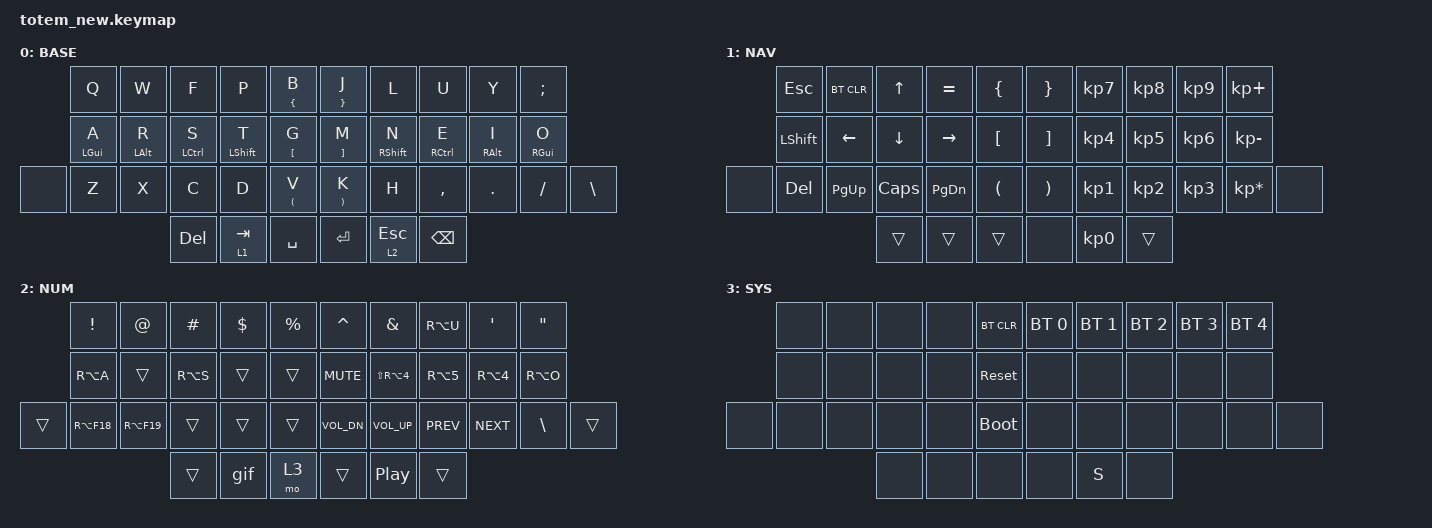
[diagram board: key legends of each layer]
//
//                                                        ▀▀▀▀▀     ▀▀▀▀▀          ▀▀█▀▀
//                                                        ▄▀▀▀▄  ▄  ▄▀▀▀▄  ▄  ▄▀▀▀▄  █  ▄▀▀▀▄
//                                                        █   █  █  █   █  █  █   █  █  █   █
//                                                         ▀▀▀   █   ▀▀▀   █   ▀▀▀   ▀   ▀▀▀
//                                                               █      ▄▄▄█▄▄▄    █   █  
//                                                               ▀      █  █  █     █▄█
//                                                             ▀▀▀▀▀    █  █  █      ▀
//                                                                      ▀  ▀  ▀
//
// ▄▄▄▄▄▄▄▄▄▄▄▄▄▄▄▄▄▄▄▄▄▄▄▄▄▄▄▄▄▄▄▄▄▄▄▄▄▄▄▄▄▄▄▄▄▄▄▄▄▄▄▄▄▄▄▄▄▄▄▄▄▄▄▄▄▄▄▄▄▄▄▄▄▄▄▄▄▄▄▄▄▄▄▄▄▄▄▄▄▄▄▄▄▄▄▄▄▄▄▄▄▄▄▄▄▄▄▄▄▄▄▄▄▄▄▄▄▄▄▄▄▄▄▄▄▄▄▄▄▄▄▄▄▄▄▄▄▄▄▄▄▄▄▄▄▄▄▄▄

#include <behaviors.dtsi>
#include <dt-bindings/zmk/bt.h>
#include <dt-bindings/zmk/keys.h>

#define BASE 0
#define NAV  1
#define SYM  2
#define ADJ  3
#define TVP1 4
#define TVP2 5

&mt {
    quick-tap-ms = <100>;
    global-quick-tap;
    flavor = "tap-preferred";
    tapping-term-ms = <170>;
};

/ {
    combos {
        compatible = "zmk,combos";

        combo_sys_layer {
            bindings = <&to 3>;
            key-positions = <20 31>;
            layers = <1>;
        };

        combo_leave_sys_layer {
            bindings = <&to 0>;
            key-positions = <20 31>;
            layers = <3>;
        };
    };

    keymap {
        compatible = "zmk,keymap";

        // ▄▄▄▄▄▄▄▄▄▄▄▄▄▄▄▄▄▄▄▄▄▄▄▄▄▄▄▄▄▄▄▄▄▄▄▄▄▄▄▄▄▄▄▄▄▄▄▄▄▄▄▄▄▄▄▄▄▄▄▄▄▄▄▄▄▄▄▄▄▄▄▄▄▄▄▄▄▄▄▄▄▄▄▄▄▄▄▄▄▄▄▄▄▄▄▄▄▄▄▄▄▄▄▄▄▄▄▄▄▄▄▄▄▄▄▄▄▄▄▄▄▄▄▄▄▄▄▄▄▄▄▄▄▄▄▄▄▄▄▄▄▄▄▄▄▄▄▄▄

        base_layer {
            label = "BASE";

            bindings = <
       &kp Q       &kp W       &kp F        &kp P        &mt LBRC B    &mt RBRC J  &kp L        &kp U        &kp Y       &kp SEMI
       &mt LGUI A  &mt LALT R  &mt LCTRL S  &mt LSHFT T  &mt LBKT G    &mt RBKT M  &mt RSHFT N  &mt RCTRL E  &mt RALT I  &mt RGUI O
&none  &kp Z       &kp X       &kp C        &kp D        &mt LPAR V    &mt RPAR K  &kp H        &kp COMMA    &kp DOT     &kp FSLH    &kp BSLH
                               &kp DEL      &lt 1 TAB    &kp SPACE     &kp RET     &lt 2 ESC    &kp BSPC
            >;
        };

        // ▄▄▄▄▄▄▄▄▄▄▄▄▄▄▄▄▄▄▄▄▄▄▄▄▄▄▄▄▄▄▄▄▄▄▄▄▄▄▄▄▄▄▄▄▄▄▄▄▄▄▄▄▄▄▄▄▄▄▄▄▄▄▄▄▄▄▄▄▄▄▄▄▄▄▄▄▄▄▄▄▄▄▄▄▄▄▄▄▄▄▄▄▄▄▄▄▄▄▄▄▄▄▄▄▄▄▄▄▄▄▄▄▄▄▄▄▄▄▄▄▄▄▄▄▄▄▄▄▄▄▄▄▄▄▄▄▄▄▄▄▄▄▄▄▄▄▄▄▄

        nav_layer {
            label = "NAV";

            bindings = <
       &kp ESC    &bt BT_CLR  &kp UP    &kp EQUAL  &kp LBRC    &kp RBRC  &kp KP_N7  &kp KP_N8  &kp KP_N9  &kp KP_PLUS
       &kp LSHFT  &kp LEFT    &kp DOWN  &kp RIGHT  &kp LBKT    &kp RBKT  &kp KP_N4  &kp KP_N5  &kp KP_N6  &kp KP_MINUS
&none  &kp DEL    &kp PG_UP   &kp CAPS  &kp PG_DN  &kp LPAR    &kp RPAR  &kp KP_N1  &kp KP_N2  &kp KP_N3  &kp KP_MULTIPLY  &none
                              &trans    &trans     &trans      &none     &kp KP_N0  &trans
            >;
        };

        // ▄▄▄▄▄▄▄▄▄▄▄▄▄▄▄▄▄▄▄▄▄▄▄▄▄▄▄▄▄▄▄▄▄▄▄▄▄▄▄▄▄▄▄▄▄▄▄▄▄▄▄▄▄▄▄▄▄▄▄▄▄▄▄▄▄▄▄▄▄▄▄▄▄▄▄▄▄▄▄▄▄▄▄▄▄▄▄▄▄▄▄▄▄▄▄▄▄▄▄▄▄▄▄▄▄▄▄▄▄▄▄▄▄▄▄▄▄▄▄▄▄▄▄▄▄▄▄▄▄▄▄▄▄▄▄▄▄▄▄▄▄▄▄▄▄▄▄▄▄

        num_layer {
            label = "NUM";

            bindings = <
        &kp EXCL     &kp AT       &kp HASH   &kp DLLR  &kp PRCNT    &kp CARET     &kp AMPS        &kp RA(U)   &kp SQT     &kp DQT
        &kp RA(A)    &trans       &kp RA(S)  &trans    &trans       &kp C_MUTE    &kp LS(RA(N4))  &kp RA(N5)  &kp RA(N4)  &kp RA(O)
&trans  &kp RA(F18)  &kp RA(F19)  &trans     &trans    &trans       &kp C_VOL_DN  &kp C_VOL_UP    &kp C_PREV  &kp C_NEXT  &kp BSLH   &trans
                                  &trans     &gif      &mo 3        &trans        &kp C_PP        &trans
            >;
        };

        // ▄▄▄▄▄▄▄▄▄▄▄▄▄▄▄▄▄▄▄▄▄▄▄▄▄▄▄▄▄▄▄▄▄▄▄▄▄▄▄▄▄▄▄▄▄▄▄▄▄▄▄▄▄▄▄▄▄▄▄▄▄▄▄▄▄▄▄▄▄▄▄▄▄▄▄▄▄▄▄▄▄▄▄▄▄▄▄▄▄▄▄▄▄▄▄▄▄▄▄▄▄▄▄▄▄▄▄▄▄▄▄▄▄▄▄▄▄▄▄▄▄▄▄▄▄▄▄▄▄▄▄▄▄▄▄▄▄▄▄▄▄▄▄▄▄▄▄▄▄

        sys_layer {
            label = "SYS";

            bindings = <
       &none  &none  &none  &none  &bt BT_CLR     &bt BT_SEL 0  &bt BT_SEL 1  &bt BT_SEL 2  &bt BT_SEL 3  &bt BT_SEL 4
       &none  &none  &none  &none  &sys_reset     &none         &none         &none         &none         &none
&none  &none  &none  &none  &none  &bootloader    &none         &none         &none         &none         &none         &none
                     &none  &none  &none          &none         &kp S         &none
            >;
        };
    };
};
